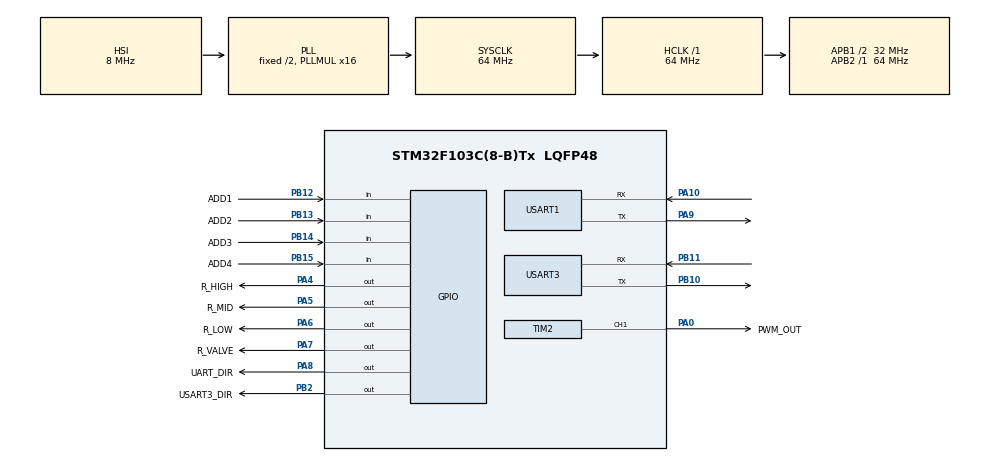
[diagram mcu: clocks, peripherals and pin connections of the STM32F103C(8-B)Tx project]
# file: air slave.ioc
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Dma.Request0=USART1_TX
Dma.Request1=USART1_RX
Dma.Request2=USART3_RX
Dma.Request3=USART3_TX
Dma.USART1_RX.1.Direction=DMA_PERIPH_TO_MEMORY
Dma.USART1_RX.1.Instance=DMA1_Channel5
Dma.USART1_RX.1.MemDataAlignment=DMA_MDATAALIGN_BYTE
Dma.USART1_RX.1.MemInc=DMA_MINC_ENABLE
Dma.USART1_RX.1.Mode=DMA_NORMAL
Dma.USART1_RX.1.PeriphDataAlignment=DMA_PDATAALIGN_BYTE
Dma.USART1_RX.1.PeriphInc=DMA_PINC_DISABLE
Dma.USART1_RX.1.Priority=DMA_PRIORITY_VERY_HIGH
Dma.USART1_TX.0.Direction=DMA_MEMORY_TO_PERIPH
Dma.USART1_TX.0.Instance=DMA1_Channel4
Dma.USART1_TX.0.MemDataAlignment=DMA_MDATAALIGN_BYTE
Dma.USART1_TX.0.MemInc=DMA_MINC_ENABLE
Dma.USART1_TX.0.Mode=DMA_NORMAL
Dma.USART1_TX.0.PeriphDataAlignment=DMA_PDATAALIGN_BYTE
Dma.USART1_TX.0.PeriphInc=DMA_PINC_DISABLE
Dma.USART1_TX.0.Priority=DMA_PRIORITY_HIGH
Dma.USART3_RX.2.Direction=DMA_PERIPH_TO_MEMORY
Dma.USART3_RX.2.Instance=DMA1_Channel3
Dma.USART3_RX.2.MemDataAlignment=DMA_MDATAALIGN_BYTE
Dma.USART3_RX.2.MemInc=DMA_MINC_ENABLE
Dma.USART3_RX.2.Mode=DMA_NORMAL
Dma.USART3_RX.2.PeriphDataAlignment=DMA_PDATAALIGN_BYTE
Dma.USART3_RX.2.PeriphInc=DMA_PINC_DISABLE
Dma.USART3_RX.2.Priority=DMA_PRIORITY_HIGH
Dma.USART3_TX.3.Direction=DMA_MEMORY_TO_PERIPH
Dma.USART3_TX.3.Instance=DMA1_Channel2
Dma.USART3_TX.3.MemDataAlignment=DMA_MDATAALIGN_BYTE
Dma.USART3_TX.3.MemInc=DMA_MINC_ENABLE
Dma.USART3_TX.3.Mode=DMA_NORMAL
Dma.USART3_TX.3.PeriphDataAlignment=DMA_PDATAALIGN_BYTE
Dma.USART3_TX.3.PeriphInc=DMA_PINC_DISABLE
Dma.USART3_TX.3.Priority=DMA_PRIORITY_MEDIUM
IWDG.Prescaler=IWDG_PRESCALER_8
IWDG.Reload=1000
Mcu.Family=STM32F1
Mcu.Name=STM32F103C(8-B)Tx
Mcu.Package=LQFP48
NVIC.DMA1_Channel2_IRQn=true\:0\:0\:false\:false\:true\:false
NVIC.DMA1_Channel3_IRQn=true\:0\:0\:false\:false\:true\:false
NVIC.DMA1_Channel4_IRQn=true\:0\:0\:false\:false\:true\:false
NVIC.DMA1_Channel5_IRQn=true\:0\:0\:false\:false\:true\:false
NVIC.PriorityGroup=NVIC_PRIORITYGROUP_3
NVIC.TIM1_UP_IRQn=true\:1\:0\:true\:false\:true\:true
NVIC.USART1_IRQn=true\:0\:0\:true\:false\:true\:true
NVIC.USART3_IRQn=true\:0\:0\:false\:false\:true\:true
PA0-WKUP.GPIO_Label=PWM_OUT
PA0-WKUP.GPIO_Speed=GPIO_SPEED_FREQ_HIGH
PA0-WKUP.Signal=S_TIM2_CH1_ETR
PA10.Mode=Asynchronous
PA10.Signal=USART1_RX
PA13.Mode=Serial_Wire
PA13.Signal=SYS_JTMS-SWDIO
PA14.Mode=Serial_Wire
PA14.Signal=SYS_JTCK-SWCLK
PA4.GPIO_Label=R_HIGH
PA4.Signal=GPIO_Output
PA5.GPIO_Label=R_MID
PA5.Signal=GPIO_Output
PA6.GPIO_Label=R_LOW
PA6.Signal=GPIO_Output
PA7.GPIO_Label=R_VALVE
PA7.Signal=GPIO_Output
PA8.GPIO_Label=UART_DIR
PA8.Signal=GPIO_Output
PA9.Mode=Asynchronous
PA9.Signal=USART1_TX
PB10.Mode=Asynchronous
PB10.Signal=USART3_TX
PB11.Mode=Asynchronous
PB11.Signal=USART3_RX
PB12.GPIO_Label=ADD1
PB12.Signal=GPIO_Input
PB13.GPIO_Label=ADD2
PB13.Signal=GPIO_Input
PB14.GPIO_Label=ADD3
PB14.Signal=GPIO_Input
PB15.GPIO_Label=ADD4
PB15.Signal=GPIO_Input
PB2.GPIO_Label=USART3_DIR
PB2.Signal=GPIO_Output
ProjectManager.HeapSize=0x200
ProjectManager.StackSize=0x400
ProjectManager.TargetToolchain=MDK-ARM V5
RCC.AHBFreq_Value=64000000
RCC.APB1CLKDivider=RCC_HCLK_DIV2
RCC.APB1Freq_Value=32000000
RCC.APB1TimFreq_Value=64000000
RCC.APB2Freq_Value=64000000
RCC.APB2TimFreq_Value=64000000
RCC.HCLKFreq_Value=64000000
RCC.PLLMUL=RCC_PLL_MUL16
RCC.SYSCLKFreq_VALUE=64000000
RCC.SYSCLKSource=RCC_SYSCLKSOURCE_PLLCLK
RCC.USBFreq_Value=64000000
SH.S_TIM2_CH1_ETR.0=TIM2_CH1,PWM Generation1 CH1
TIM1.Period=10000-1
TIM1.Prescaler=64-1
TIM2.Channel-PWM\ Generation1\ CH1=TIM_CHANNEL_1
TIM2.Period=1000
TIM2.Prescaler=64-1
TIM2.Pulse-PWM\ Generation1\ CH1=0
USART1.VirtualMode=VM_ASYNC
USART3.VirtualMode=VM_ASYNC
VP_IWDG_VS_IWDG.Mode=IWDG_Activate
VP_TIM1_VS_ClockSourceINT.Mode=Internal
board=air slave

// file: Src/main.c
/**
  ******************************************************************************
  * @file           : main.c
  * @brief          : Main program body
  ******************************************************************************
  ** This notice applies to any and all portions of this file
  * that are not between comment pairs USER CODE BEGIN and
  * USER CODE END. Other portions of this file, whether
  * inserted by the user or by software development tools
  * are owned by their respective copyright owners.
  *
  * COPYRIGHT(c) 2018 STMicroelectronics
  *
  * Redistribution and use in source and binary forms, with or without modification,
  * are permitted provided that the following conditions are met:
  *   1. Redistributions of source code must retain the above copyright notice,
  *      this list of conditions and the following disclaimer.
  *   2. Redistributions in binary form must reproduce the above copyright notice,
  *      this list of conditions and the following disclaimer in the documentation
  *      and/or other materials provided with the distribution.
  *   3. Neither the name of STMicroelectronics nor the names of its contributors
  *      may be used to endorse or promote products derived from this software
  *      without specific prior written permission.
  *
  * THIS SOFTWARE IS PROVIDED BY THE COPYRIGHT HOLDERS AND CONTRIBUTORS "AS IS"
  * AND ANY EXPRESS OR IMPLIED WARRANTIES, INCLUDING, BUT NOT LIMITED TO, THE
  * IMPLIED WARRANTIES OF MERCHANTABILITY AND FITNESS FOR A PARTICULAR PURPOSE ARE
  * DISCLAIMED. IN NO EVENT SHALL THE COPYRIGHT HOLDER OR CONTRIBUTORS BE LIABLE
  * FOR ANY DIRECT, INDIRECT, INCIDENTAL, SPECIAL, EXEMPLARY, OR CONSEQUENTIAL
  * DAMAGES (INCLUDING, BUT NOT LIMITED TO, PROCUREMENT OF SUBSTITUTE GOODS OR
  * SERVICES; LOSS OF USE, DATA, OR PROFITS; OR BUSINESS INTERRUPTION) HOWEVER
  * CAUSED AND ON ANY THEORY OF LIABILITY, WHETHER IN CONTRACT, STRICT LIABILITY,
  * OR TORT (INCLUDING NEGLIGENCE OR OTHERWISE) ARISING IN ANY WAY OUT OF THE USE
  * OF THIS SOFTWARE, EVEN IF ADVISED OF THE POSSIBILITY OF SUCH DAMAGE.
  *
  ******************************************************************************
  */
#include "main.h"
#include "stm32f1xx_hal.h"
#include "dma.h"
#include "iwdg.h"
#include "tim.h"
#include "usart.h"
#include "gpio.h"

/* USER CODE BEGIN Includes */
#include "crc16_modbus.h"
#include "string.h"
#include "stdlib.h"
/* USER CODE END Includes */

/* USER CODE BEGIN PV */
/* Private variables ---------------------------------------------------------*/

extern TIM_HandleTypeDef htim2;
static uint8_t Device_ID;
extern DMA_HandleTypeDef hdma_usart1_tx;
extern DMA_HandleTypeDef hdma_usart3_tx;
#define SoftVer_MAIN 1
#define SoftVer_SUB  0
#define CDMP_SOH     0x7E

#define DEV_BOOT			  0x00	  // 空设备，特指Boot Loader
#define DEV_FAN_COIL		0x01	  // 风机盘管
#define DEV_FLOOR_HEAT	0x02	  // 地暖
#define DEV_FRESH			  0x03	  // 新风
#define DEV_HUMID			  0x04	  // 加湿机
#define DEV_DEHUMID		  0x05	  // 除湿机

#define DEVICE_TYPE  DEV_FAN_COIL
uint8_t P_frame[1024] = {0};
typedef struct
{
	uint8_t STATE_LOW;
	uint8_t STATE_MID;
	uint8_t STATE_HIGH;
	uint8_t STATE_VALVE;
	uint8_t CDM_LOW;
	uint8_t CMD_MIN;
	uint8_t CMD_HIGH;
	uint8_t CMD_VALVE;
	uint8_t LEN_LOW;
	uint8_t LEN_MIN;
	uint8_t LEN_HIGH;
	uint8_t LEN_VALVE;
}DEVICE_REGISTER;
DEVICE_REGISTER dev_reg;
typedef enum{
	READ_SINGLE = 0x81,
	READ_MUL ,
	WRITE_SINGLE,
	WRITE_MUL,
	UPDATE_DATE,
	INVENTORY
}CMD_TYPE;

typedef struct
{
	uint8_t   SOH;
	uint8_t   Version;
	uint8_t   Length;
	uint16_t  Address;
	uint8_t   PacketID;
	CMD_TYPE  CMD;
	uint8_t   *PUD;
	uint16_t  CRC16;
}CDMP;
/**
  * @brief  继电器序号
  */
typedef enum
{
	RELAY_HIGH = 0U,
	RELAY_MID,
	RELAY_LOW,
	RELAY_VALVE,
	RELAY_ALL
} Relay_num;
/**
  * @brief  继电器开关状态
  */
typedef enum
{
	RELAY_ON = 0U,
	RELAY_OFF
} Relay_state;
/**
  * @brief  电压输出
  */
typedef enum
{
	VOLATAGE_3 = 0U,
	VOLATAGE_5,
	VOLATAGE_8
} VOLATAGE_OUT;
/**
  * @brief  风速类型
  */
typedef enum
{
	FAN_SPEED_LOW = 0U,    /*!< 低速*/
	FAN_SPEED_MID,         /*!< 中速*/
	FAN_SPEED_HIG,         /*!< 高速*/
	FAN_SPEED_OFF = 0xFF   /*!< 关闭*/
}FAN_SPEED;
extern INS_STRUCT ins_struct;      //指令buf
/* USER CODE END PV */

void SystemClock_Config(void);

/* USER CODE BEGIN PFP */
/* Private function prototypes -----------------------------------------------*/

/* USER CODE END PFP */

/* USER CODE BEGIN 0 */
void CheckDevideID(uint8_t *pDevideID);
void Exe_action(FAN_SPEED f_speed);
void Init_Insbuf(INS_STRUCT *ins);
void Protocol_Resolution(void);
void Init_dev_reg(void);
uint8_t EXE_READ_SINGLE(uint8_t *p,uint32_t len);
void EXE_READ_MUL(uint8_t *p,uint32_t len);
void EXE_WRITE_SINGLE(uint8_t *p,uint32_t len);
void EXE_WRITE_MUL(uint8_t *p,uint32_t len);
void EXE_UPDATE_DATE(uint8_t *p,uint32_t len);
void RelaySwitch(Relay_num r_num,Relay_state r_state);
/* USER CODE END 0 */

int main(void)
{

  /* MCU Configuration----------------------------------------------------------*/

  /* Reset of all peripherals, Initializes the Flash interface and the Systick. */
  HAL_Init();

  /* Configure the system clock */
  SystemClock_Config();

  /* Initialize all configured peripherals */
  MX_GPIO_Init();
  MX_DMA_Init();
  MX_IWDG_Init();
  MX_TIM1_Init();
  MX_USART1_UART_Init();
  MX_TIM2_Init();
  MX_USART3_UART_Init();
  /* USER CODE BEGIN 2 */
	//DMA 接收地址设置
	HAL_UART_Receive_DMA(&huart1,UsartType1.usartDMA_rxBuf,0x400);
	HAL_UART_Receive_DMA(&huart3,UsartType3.usartDMA_rxBuf,0x400);
	__HAL_UART_ENABLE_IT(&huart1,UART_IT_IDLE);   //开启空闲中断
	__HAL_UART_ENABLE_IT(&huart3,UART_IT_IDLE);   //开启空闲中断
	HAL_TIM_Base_Start_IT(&htim1);
	HAL_TIM_PWM_Start(&htim2,TIM_CHANNEL_1);
	HAL_GPIO_WritePin(UART_DIR_GPIO_Port,UART_DIR_Pin,GPIO_PIN_RESET);  //上电的时候设置接收状态
	HAL_GPIO_WritePin(USART3_DIR_GPIO_Port,USART3_DIR_Pin,GPIO_PIN_RESET);  //上电的时候设置接收状态
	UsartType1.dmaSend_flag = USART_DMA_SENDOVER;
	UsartType3.dmaSend_flag = USART_DMA_SENDOVER;
	//1、查看设备地址
	CheckDevideID(&Device_ID);    //每次上电的时候查询地址
	//2、初始化指令缓存
	Init_Insbuf(&ins_struct);
	Init_dev_reg();

  /* USER CODE END 2 */

  /* Infinite loop */
  while (1)
  {

  /* USER CODE BEGIN 3 */
	/*1< 处理指令buf中未处理的指令，解析完一帧指令后设置处理指令flag*/

	/*2< 处理准备好的指令*/
//		if(UsartType1.receive_flag == 1)   //产生了空闲中断
//		{
//			UsartType1.receive_flag = 0; //清除标记
//			if(UsartType1.rx_len != 0)
//			{
//				//SendDataUSART1_DMA(UsartType1.usartDMA_rxBuf,UsartType1.rx_len);//串口打印收到的数据
//				_dbg_printf("%s",UsartType1.usartDMA_rxBuf);
//			}
//		}
		Protocol_Resolution();
  }
  /* USER CODE END 3 */

}

void SystemClock_Config(void)
{

  RCC_OscInitTypeDef RCC_OscInitStruct;
  RCC_ClkInitTypeDef RCC_ClkInitStruct;

    /**Initializes the CPU, AHB and APB busses clocks
    */
  RCC_OscInitStruct.OscillatorType = RCC_OSCILLATORTYPE_HSI|RCC_OSCILLATORTYPE_LSI;
  RCC_OscInitStruct.HSIState = RCC_HSI_ON;
  RCC_OscInitStruct.HSICalibrationValue = 16;
  RCC_OscInitStruct.LSIState = RCC_LSI_ON;
  RCC_OscInitStruct.PLL.PLLState = RCC_PLL_ON;
  RCC_OscInitStruct.PLL.PLLSource = RCC_PLLSOURCE_HSI_DIV2;
  RCC_OscInitStruct.PLL.PLLMUL = RCC_PLL_MUL16;
  if (HAL_RCC_OscConfig(&RCC_OscInitStruct) != HAL_OK)
  {
    _Error_Handler(__FILE__, __LINE__);
  }

    /**Initializes the CPU, AHB and APB busses clocks
    */
  RCC_ClkInitStruct.ClockType = RCC_CLOCKTYPE_HCLK|RCC_CLOCKTYPE_SYSCLK
                              |RCC_CLOCKTYPE_PCLK1|RCC_CLOCKTYPE_PCLK2;
  RCC_ClkInitStruct.SYSCLKSource = RCC_SYSCLKSOURCE_PLLCLK;
  RCC_ClkInitStruct.AHBCLKDivider = RCC_SYSCLK_DIV1;
  RCC_ClkInitStruct.APB1CLKDivider = RCC_HCLK_DIV2;
  RCC_ClkInitStruct.APB2CLKDivider = RCC_HCLK_DIV1;

  if (HAL_RCC_ClockConfig(&RCC_ClkInitStruct, FLASH_LATENCY_2) != HAL_OK)
  {
    _Error_Handler(__FILE__, __LINE__);
  }

    /**Configure the Systick interrupt time
    */
  HAL_SYSTICK_Config(HAL_RCC_GetHCLKFreq()/1000);

    /**Configure the Systick
    */
  HAL_SYSTICK_CLKSourceConfig(SYSTICK_CLKSOURCE_HCLK);

  /* SysTick_IRQn interrupt configuration */
  HAL_NVIC_SetPriority(SysTick_IRQn, 0, 0);
}

/* USER CODE BEGIN 4 */
/**
  * @brief 	移动指令队列中当前处理数据指针的位置
  * @param  step	指针向后移动的单位
  * @note
  * @retval None
	* @author 王秀峰
	* @time   2018/07/09
  */
void right_shift_current(uint32_t step)
{
	uint32_t L_end;
	L_end = &ins_struct.ins_Buf[INS_MAX - 1] - ins_struct.insp_current;
	if(L_end >= step)
	{
		ins_struct.insp_current += step;
	}
	else
	{
		uint32_t L_start;
		L_start = step - L_end;
		ins_struct.insp_current = &ins_struct.ins_Buf[L_start - 1];
	}
	ins_struct.ins_length -= step;
}
/**
  * @brief 	从指令队列中提取数据解析
  * @param  None
  * @note
  * @retval None
	* @author 王秀峰
	* @time   2018/07/09
  */
void Protocol_Resolution(void)
{
	if(ins_struct.ins_length >= 8)   //指令队列中存在未处理的指令
	{
		//1、寻找SOH
		if(CDMP_SOH == *ins_struct.insp_current )//非SOH || 地址错误
		{
			uint32_t Frame_Length;
			uint32_t L_end;
			L_end = &ins_struct.ins_Buf[INS_MAX - 1] - ins_struct.insp_current + 1;
			if(L_end > 2)
			{
				Frame_Length = ins_struct.insp_current[2];
			}
			else
			{
				Frame_Length = ins_struct.ins_Buf[2 - L_end];
			}
			if(Frame_Length > ins_struct.ins_length)
			{
				right_shift_current(1);
			}
			else    //将数据移动出来做进一步的检查
			{
				uint16_t crc16;

				if(Frame_Length <= L_end)
				{
					memcpy(P_frame,ins_struct.insp_current,Frame_Length);
				}
				else
				{
					memcpy(P_frame,ins_struct.insp_current,L_end);
					memcpy(P_frame + L_end,ins_struct.ins_Buf,Frame_Length - L_end);
				}
				crc16 = CRC16_MODBUS(P_frame,Frame_Length - 2);
				if((P_frame[3] == Device_ID) && (crc16 == ((P_frame[Frame_Length - 2] << 8)|(P_frame[Frame_Length - 1]))))
				{
					switch((CMD_TYPE)P_frame[5])
					{
						case 	READ_SINGLE:
							P_frame[2] = Frame_Length + 1;
							P_frame[7] = EXE_READ_SINGLE(&P_frame[6],Frame_Length - 8);
							crc16 = CRC16_MODBUS(P_frame,Frame_Length - 2 + 1);
							P_frame[9] = (uint8_t)crc16;
							P_frame[8] = (uint8_t)(crc16 >> 8);
							SendDataUSART1_DMA(P_frame, Frame_Length + 1);
							break;
						case READ_MUL:
							EXE_READ_MUL(&P_frame[6],Frame_Length - 8);
							break;
						case WRITE_SINGLE:
							EXE_WRITE_SINGLE(&P_frame[6],Frame_Length - 8);
							P_frame[2] = Frame_Length - 1;
							crc16 = CRC16_MODBUS(P_frame,Frame_Length - 2 - 1);
							P_frame[Frame_Length - 2] = (uint8_t)crc16;
							P_frame[Frame_Length - 2 - 1] = (uint8_t)(crc16 >> 8);
							SendDataUSART1_DMA(P_frame, Frame_Length - 1);
							break;
						case 	WRITE_MUL:
							EXE_WRITE_MUL(&P_frame[6],Frame_Length - 8);
							break;
						case UPDATE_DATE:
							EXE_UPDATE_DATE(&P_frame[6],Frame_Length - 8);
							break;
						case INVENTORY://盘点设备
							P_frame[2] = Frame_Length + 1;
							P_frame[6] = (uint8_t)DEVICE_TYPE;
							crc16 = CRC16_MODBUS(P_frame,Frame_Length - 2 + 1);
							P_frame[Frame_Length - 1 + 1] = (uint8_t)crc16;
							P_frame[Frame_Length - 2 + 1] = (uint8_t)(crc16 >> 8);
							SendDataUSART1_DMA(P_frame, Frame_Length + 1);
							break;
						default:
							_dbg_printf("invalid cmd\n");
							break;
					}
					right_shift_current(Frame_Length);
				}
				else
				{
					right_shift_current(1);
				}
			}
		}
		else //向后移动
		{
			right_shift_current(1);
		}
	}
}
/**
  * @brief  读单个地址的命令
  * @param  P PDU的数组
	*					Len PDU长度
  * @note
  * @retval None
	* @author 王秀峰
	* @time   2018/07/11
  */
uint8_t EXE_READ_SINGLE(uint8_t *p,uint32_t len)
{
	switch(p[0])
	{
		case 0:
			return dev_reg.STATE_LOW;
		case 1:
			return dev_reg.STATE_MID;
		case 2:
			return dev_reg.STATE_HIGH;
		case 3:
			return dev_reg.STATE_VALVE;
		default:
			return 0xff;
	}
}
void EXE_READ_MUL(uint8_t *p,uint32_t len)
{
	uint8_t addr = p[0];  //开始读的地址
	uint8_t length = p[1];//读寄存器的长度
	for(int i = addr;i < length; i++)
	{

	}
}
/**
  * @brief  写单个地址的命令
  * @param  P PDU的数组
	*					Len PDU长度
  * @note
  * @retval None
	* @author 王秀峰
	* @time   2018/07/11
  */
void EXE_WRITE_SINGLE(uint8_t *p,uint32_t len)
{
	switch(p[0])
	{
		case 0:
			if(p[1] == 0)
			{
				RelaySwitch(RELAY_LOW,RELAY_ON);
				dev_reg.STATE_LOW = 0;
			}
			else
			{
				RelaySwitch(RELAY_LOW,RELAY_OFF);
				dev_reg.STATE_LOW = 1;
			}
			break;
		case 1:
			if(p[1] == 0)
			{
				dev_reg.STATE_MID = 0;
				RelaySwitch(RELAY_MID,RELAY_ON);
			}
			else
			{
				RelaySwitch(RELAY_MID,RELAY_OFF);
				dev_reg.STATE_MID = 1;
			}
			break;
		case 2:
			if(p[1] == 0)
			{
				RelaySwitch(RELAY_HIGH,RELAY_ON);
				dev_reg.STATE_HIGH = 0;
			}
			else
			{
				RelaySwitch(RELAY_HIGH,RELAY_OFF);
				dev_reg.STATE_HIGH = 1;
			}
			break;
		case 3:
			if(p[1] == 0)
			{
				RelaySwitch(RELAY_VALVE,RELAY_ON);
				dev_reg.STATE_VALVE = 0;
			}
			else
			{
				RelaySwitch(RELAY_VALVE,RELAY_OFF);
				dev_reg.STATE_VALVE = 1;
			}

			break;
		default:
			break;
	}
}
void EXE_WRITE_MUL(uint8_t *p,uint32_t len)
{

}
void EXE_UPDATE_DATE(uint8_t *p,uint32_t len)
{

}
/**
  * @brief  查询设备的地址，向传入的地址写入参数
  * @param  pDevideID   设备地址
  * @note
  * @retval None
	* @author 王秀峰
	* @time   2018/07/04
  */
void CheckDevideID(uint8_t *pDevideID)
{
	*pDevideID = HAL_GPIO_ReadPin(ADD1_GPIO_Port,ADD1_Pin)|\
			HAL_GPIO_ReadPin(ADD2_GPIO_Port,ADD2_Pin) << 1|\
			HAL_GPIO_ReadPin(ADD3_GPIO_Port,ADD3_Pin) << 2|\
			HAL_GPIO_ReadPin(ADD4_GPIO_Port,ADD4_Pin) << 3;
}
/**
  * @brief  对继电器序号断言
  */
#define IS_RELAY_NUM(R_NUM) (((R_NUM) == RELAY_HIGH) || \
														((R_NUM) == RELAY_MID) || \
                            ((R_NUM) == RELAY_LOW) ||\
														((R_NUM) == RELAY_VALVE) ||\
														((R_NUM) == RELAY_ALL))
/**
  * @brief  对继电器状态断言
  */
#define IS_RELAY_STATE(R_STATE) (((R_STATE) == RELAY_ON) || \
																((R_STATE) == RELAY_OFF))
/**
  * @brief  单独控制每个继电器的状态开关
  * @param  Relay_num：继电器序号
	*											RELAY_HIGH
	*											RELAY_MID
	*											RELAY_LOW
	*					Relay_state：继电器状态
	*											RELAY_OFF  继电器闭合
	*											RELAY_ON   继电器打开
  * @note
  * @retval None
	* @author 王秀峰
	* @time   2018/07/04
  */
void RelaySwitch(Relay_num r_num,Relay_state r_state)
{
	//assert_param(IS_RELAY_NUM(r_num));
	//assert_param(IS_RELAY_STATE(r_state));
	switch(r_num)
	{
		case RELAY_HIGH:
			if(r_state == RELAY_OFF)
			{
				HAL_GPIO_WritePin(R_HIGH_GPIO_Port,R_HIGH_Pin,GPIO_PIN_SET);
			}

			else
			{
				HAL_GPIO_WritePin(R_HIGH_GPIO_Port,R_HIGH_Pin,GPIO_PIN_RESET);
			}
			break;
		case RELAY_MID:
			if(r_state == RELAY_OFF)
			{
				HAL_GPIO_WritePin(R_MID_GPIO_Port,R_MID_Pin,GPIO_PIN_SET);
			}
			else
			{
				HAL_GPIO_WritePin(R_MID_GPIO_Port,R_MID_Pin,GPIO_PIN_RESET);
			}
			break;
		case RELAY_LOW:
			if(r_state == RELAY_OFF)
			{
				HAL_GPIO_WritePin(R_LOW_GPIO_Port,R_LOW_Pin,GPIO_PIN_SET);
			}
			else
			{
				HAL_GPIO_WritePin(R_LOW_GPIO_Port,R_LOW_Pin,GPIO_PIN_RESET);
			}
			break;
		case RELAY_VALVE:
			if(r_state == RELAY_OFF)
			{
				HAL_GPIO_WritePin(R_VALVE_GPIO_Port,R_VALVE_Pin,GPIO_PIN_SET);
			}
			else
			{
				HAL_GPIO_WritePin(R_VALVE_GPIO_Port,R_VALVE_Pin,GPIO_PIN_RESET);
			}
			break;
		case RELAY_ALL:
			if(r_state == RELAY_OFF)
			{
				HAL_GPIO_WritePin(GPIOA,R_HIGH_Pin | R_MID_Pin | R_LOW_Pin | R_VALVE_Pin,GPIO_PIN_SET);
			}
			else
			{
				HAL_GPIO_WritePin(GPIOA,R_HIGH_Pin | R_MID_Pin | R_LOW_Pin | R_VALVE_Pin,GPIO_PIN_RESET);
			}
			break;
		default:
			break;
	}
}
/**
  * @brief  输出3-5-8V电压
  * @param    v_out     VOLATAGE_3
	*					  			    VOLATAGE_5
	*					  			    VOLATAGE_8
  * @note   比较捕获寄存器重载值与电压对应关系
	*           htim2.Instance->CCR1 = 306;     3V
	*						htim2.Instance->CCR1 = 510;     5V
	*					  htim2.Instance->CCR1 = 817;     8V
  * @retval None
	* @author 王秀峰
	* @time   2018/07/04
  */
void VoltageOutput(VOLATAGE_OUT v_out)
{
	switch(v_out)
	{
		case VOLATAGE_3:
			htim2.Instance->CCR1 = 306;
			break;
		case VOLATAGE_5:
			htim2.Instance->CCR1 = 510;
			break;
		case VOLATAGE_8:
			htim2.Instance->CCR1 = 817;
			break;
		default:
			htim2.Instance->CCR1 = 0;
			break;
	}
}
/**
  * @brief  执行动作接口
  * @param    FAN_SPEED FAN_SPEED_LOW
	*					  			    FAN_SPEED_MID
	*					  			    FAN_SPEED_HIG
	*											FAN_SPEED_OFF
  * @note   根据输入的风速要求控制具体的继电器开关
	*
  * @retval None
	* @author 王秀峰
	* @time   2018/07/05
  */
void Exe_action(FAN_SPEED f_speed)
{
	RelaySwitch(RELAY_ALL ,RELAY_ON);   //继电器打开
	switch(f_speed)
	{
		case FAN_SPEED_LOW:
			RelaySwitch(RELAY_LOW ,RELAY_OFF);
			VoltageOutput(VOLATAGE_3);
			break;
		case FAN_SPEED_MID:
			RelaySwitch(RELAY_MID ,RELAY_OFF);
			VoltageOutput(VOLATAGE_5);
			break;
		case FAN_SPEED_HIG:
			RelaySwitch(RELAY_HIGH ,RELAY_OFF);
			VoltageOutput(VOLATAGE_8);
			break;
		case FAN_SPEED_OFF:
		default:
			break;
	}
}
/**
  * @brief  初始化设备寄存器
  * @param  None
  * @note
	*
  * @retval None
	* @author 王秀峰
	* @time   2018/07/11
  */
void Init_dev_reg(void)
{
	dev_reg.CDM_LOW 		= 0;
	dev_reg.CMD_MIN 		= 0;
	dev_reg.CMD_HIGH 		= 0;
	dev_reg.CMD_VALVE 	= 0;
	dev_reg.STATE_LOW 	= 0;
	dev_reg.STATE_MID 	= 0;
	dev_reg.STATE_HIGH 	= 0;
	dev_reg.STATE_VALVE = 0;
	dev_reg.LEN_LOW 		= 1;
	dev_reg.LEN_MIN 		= 1;
	dev_reg.LEN_HIGH 		= 1;
	dev_reg.LEN_VALVE 	= 1;

}
/**
  * @brief  初始化指令buf
  * @param  ins 要初始化的指令buf
  * @note
	*
  * @retval None
	* @author 王秀峰
	* @time   2018/07/05
  */
void Init_Insbuf(INS_STRUCT *ins)
{
	ins->insp_current = ins->ins_Buf;
	ins->insp_end = ins->ins_Buf;
	ins->ins_length = 0;
}
/* USER CODE END 4 */

void _Error_Handler(char *file, int line)
{
  while(1)
  {
  }
}

/************************ (C) COPYRIGHT STMicroelectronics *****END OF FILE****/
